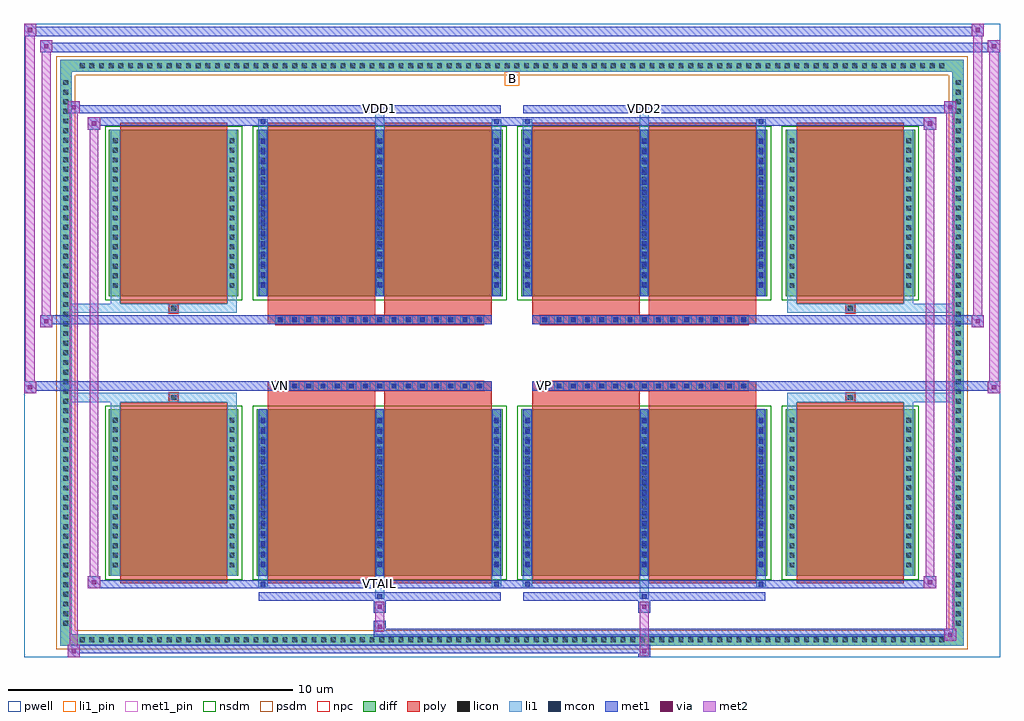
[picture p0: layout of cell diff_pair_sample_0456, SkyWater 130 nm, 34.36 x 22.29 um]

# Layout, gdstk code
import gdstk
lib = gdstk.Library(unit=1e-6, precision=5e-09)
def R(c, l, rs):  # rectangles x0, y0, x1, y1
    for r in rs: c.add(gdstk.rectangle(r[:2], r[2:], *l))
def A(c, l, x, y, w, h, nx, ny, dx, dy):  # array of equal rectangles
    R(c, l, [(x+i*dx, y+j*dy, x+i*dx+w, y+j*dy+h) for i in range(nx) for j in range(ny)])
def P(c, l, *ps):  # polygons
    for p in ps: c.add(gdstk.Polygon(p, *l))
pwell = (64, 44)
diff = (65, 20)
poly = (66, 20)
licon = (66, 44)
li1_pin = (67, 16)
li1 = (67, 20)
mcon = (67, 44)
met1_pin = (68, 16)
met1 = (68, 20)
via = (68, 44)
met2 = (69, 20)
nsdm = (93, 44)
psdm = (94, 20)
npc = (95, 20)

diff_pair_sample_0456 = lib.new_cell('diff_pair_sample_0456')
R(diff_pair_sample_0456, pwell, [(-17.18,-10.71,17.18,11.58), (-14.5,-8.9,-0.01,-0.8), (0.01,-8.9,14.5,-0.8), (-14.5,0.8,-0.01,8.9), (0.01,0.8,14.5,8.9)])
A(diff_pair_sample_0456, diff, -15.335, -10.31, 0.41, 0.41, 90, 2, 0.34, 20.21)
A(diff_pair_sample_0456, diff, -15.91, -9.725, 0.41, 0.41, 1, 57, 0, 0.34)
A(diff_pair_sample_0456, diff, 15.5, -9.725, 0.41, 0.41, 1, 57, 0, 0.34)
R(diff_pair_sample_0456, diff, [(-15.335,-10.31,15.335,-9.9), (-15.91,-9.725,-15.5,9.725), (15.5,-9.725,15.91,9.725), (-14.19,-7.855,-9.63,-1.985), (-8.99,-7.855,-0.32,-1.985), (0.32,-7.855,8.99,-1.985), (9.63,-7.855,14.19,-1.985), (-14.19,1.985,-9.63,7.855), (-8.99,1.985,-0.32,7.855), (0.32,1.985,8.99,7.855), (9.63,1.985,14.19,7.855), (-15.335,9.9,15.335,10.31)])
P(diff_pair_sample_0456, diff, [(15.91,10.31),(-15.91,10.31),(-15.91,-9.9),(-15.5,-9.9),(-15.5,9.9),(15.5,9.9),(15.5,-9.9),(-15.5,-9.9),(-15.91,-9.9),(-15.91,-10.31),(15.91,-10.31)])
A(diff_pair_sample_0456, poly, -8.32, -1.33, 0.33, 0.33, 15, 2, 0.5, 2.33)
A(diff_pair_sample_0456, poly, 0.99, -1.33, 0.33, 0.33, 15, 2, 0.5, 2.33)
R(diff_pair_sample_0456, poly, [(-13.8,-8.105,-10.02,-1.735), (-8.6,-8.105,-4.82,-1.735), (-4.49,-8.105,-0.71,-1.735), (0.71,-8.105,4.49,-1.735), (4.82,-8.105,8.6,-1.735), (10.02,-8.105,13.8,-1.735), (-12.075,-1.735,-11.745,-1.405), (-12.075,-1.735,-11.745,-1.405), (-8.6,-1.735,-4.82,-1.33), (-4.49,-1.735,-0.71,-1.33), (0.71,-1.735,4.49,-1.33), (4.82,-1.735,8.6,-1.33), (11.745,-1.735,12.075,-1.405), (11.745,-1.735,12.075,-1.405), (-8.6,-1.33,-0.71,-1), (0.71,-1.33,8.6,-1), (-8.6,1,-0.71,1.33), (0.71,1,8.6,1.33), (-8.6,1.33,-4.82,1.735), (-4.49,1.33,-0.71,1.735), (0.71,1.33,4.49,1.735), (4.82,1.33,8.6,1.735), (-12.075,1.405,-11.745,1.735), (-12.075,1.405,-11.745,1.735), (11.745,1.405,12.075,1.735), (11.745,1.405,12.075,1.735), (-13.8,1.735,-10.02,8.105), (-8.6,1.735,-4.82,8.105), (-4.49,1.735,-0.71,8.105), (0.71,1.735,4.49,8.105), (4.82,1.735,8.6,8.105), (10.02,1.735,13.8,8.105)])
A(diff_pair_sample_0456, licon, -15.215, -10.19, 0.17, 0.17, 90, 2, 0.34, 20.21)
A(diff_pair_sample_0456, licon, -15.79, -9.605, 0.17, 0.17, 1, 57, 0, 0.34)
A(diff_pair_sample_0456, licon, 15.62, -9.605, 0.17, 0.17, 1, 57, 0, 0.34)
A(diff_pair_sample_0456, licon, -14.05, -7.555, 0.17, 0.17, 1, 16, 0, 0.34)
A(diff_pair_sample_0456, licon, -9.94, -7.555, 0.17, 0.17, 1, 16, 0, 0.34)
A(diff_pair_sample_0456, licon, -8.85, -7.555, 0.17, 0.17, 3, 16, 4.11, 0.34)
A(diff_pair_sample_0456, licon, 0.46, -7.555, 0.17, 0.17, 3, 16, 4.11, 0.34)
A(diff_pair_sample_0456, licon, 9.77, -7.555, 0.17, 0.17, 1, 16, 0, 0.34)
A(diff_pair_sample_0456, licon, 13.88, -7.555, 0.17, 0.17, 1, 16, 0, 0.34)
A(diff_pair_sample_0456, licon, -8.24, -1.25, 0.17, 0.17, 15, 2, 0.5, 2.33)
A(diff_pair_sample_0456, licon, 1.07, -1.25, 0.17, 0.17, 15, 2, 0.5, 2.33)
A(diff_pair_sample_0456, licon, -14.05, 2.285, 0.17, 0.17, 1, 16, 0, 0.34)
A(diff_pair_sample_0456, licon, -9.94, 2.285, 0.17, 0.17, 1, 16, 0, 0.34)
A(diff_pair_sample_0456, licon, -8.85, 2.285, 0.17, 0.17, 3, 16, 4.11, 0.34)
A(diff_pair_sample_0456, licon, 0.46, 2.285, 0.17, 0.17, 3, 16, 4.11, 0.34)
A(diff_pair_sample_0456, licon, 9.77, 2.285, 0.17, 0.17, 1, 16, 0, 0.34)
A(diff_pair_sample_0456, licon, 13.88, 2.285, 0.17, 0.17, 1, 16, 0, 0.34)
R(diff_pair_sample_0456, licon, [(-11.995,-1.655,-11.825,-1.485), (11.825,-1.655,11.995,-1.485), (-11.995,1.485,-11.825,1.655), (11.825,1.485,11.995,1.655)])
R(diff_pair_sample_0456, li1_pin, [(-0.25,9.4,0.25,9.9)])
A(diff_pair_sample_0456, li1, -15.295, -10.27, 0.33, 0.33, 90, 2, 0.34, 20.21)
A(diff_pair_sample_0456, li1, -15.87, -9.685, 0.33, 0.33, 1, 57, 0, 0.34)
A(diff_pair_sample_0456, li1, 15.54, -9.685, 0.33, 0.33, 1, 57, 0, 0.34)
A(diff_pair_sample_0456, li1, -8.93, -7.855, 0.33, 5.87, 3, 2, 4.11, 9.84)
A(diff_pair_sample_0456, li1, 0.38, -7.855, 0.33, 5.87, 3, 2, 4.11, 9.84)
A(diff_pair_sample_0456, li1, -14.13, -7.635, 0.33, 0.33, 1, 16, 0, 0.34)
A(diff_pair_sample_0456, li1, -10.02, -7.635, 0.33, 0.33, 1, 16, 0, 0.34)
A(diff_pair_sample_0456, li1, -8.93, -7.635, 0.33, 0.33, 3, 16, 4.11, 0.34)
A(diff_pair_sample_0456, li1, 0.38, -7.635, 0.33, 0.33, 3, 16, 4.11, 0.34)
A(diff_pair_sample_0456, li1, 9.69, -7.635, 0.33, 0.33, 1, 16, 0, 0.34)
A(diff_pair_sample_0456, li1, 13.8, -7.635, 0.33, 0.33, 1, 16, 0, 0.34)
A(diff_pair_sample_0456, li1, -8.85, -7.525, 0.17, 0.17, 3, 15, 4.11, 0.36)
A(diff_pair_sample_0456, li1, -8.85, -7.525, 0.17, 5.21, 3, 2, 4.11, 9.84)
A(diff_pair_sample_0456, li1, 0.46, -7.525, 0.17, 0.17, 3, 15, 4.11, 0.36)
A(diff_pair_sample_0456, li1, 0.46, -7.525, 0.17, 5.21, 3, 2, 4.11, 9.84)
A(diff_pair_sample_0456, li1, -8.32, -1.33, 0.33, 0.33, 15, 2, 0.5, 2.33)
A(diff_pair_sample_0456, li1, 0.99, -1.33, 0.33, 0.33, 15, 2, 0.5, 2.33)
A(diff_pair_sample_0456, li1, -14.13, 2.205, 0.33, 0.33, 1, 16, 0, 0.34)
A(diff_pair_sample_0456, li1, -10.02, 2.205, 0.33, 0.33, 1, 16, 0, 0.34)
A(diff_pair_sample_0456, li1, -8.93, 2.205, 0.33, 0.33, 3, 16, 4.11, 0.34)
A(diff_pair_sample_0456, li1, 0.38, 2.205, 0.33, 0.33, 3, 16, 4.11, 0.34)
A(diff_pair_sample_0456, li1, 9.69, 2.205, 0.33, 0.33, 1, 16, 0, 0.34)
A(diff_pair_sample_0456, li1, 13.8, 2.205, 0.33, 0.33, 1, 16, 0, 0.34)
A(diff_pair_sample_0456, li1, -8.85, 2.315, 0.17, 0.17, 3, 15, 4.11, 0.36)
A(diff_pair_sample_0456, li1, 0.46, 2.315, 0.17, 0.17, 3, 15, 4.11, 0.36)
R(diff_pair_sample_0456, li1, [(-15.91,-10.31,-15.5,-9.9), (-15.91,-10.31,-15.5,-9.9), (-15.5,-10.31,15.5,-9.9), (15.5,-10.31,15.91,-9.9), (15.5,-10.31,15.91,-9.9), (-15.91,-9.9,-15.5,9.9), (15.5,-9.9,15.91,9.9), (-4.82,-8.66,-4.49,-7.855), (-4.74,-8.66,-4.57,-8.49), (4.49,-8.66,4.82,-7.855), (4.57,-8.66,4.74,-8.49), (-8.93,-8.23,-8.6,-7.855), (-8.85,-8.23,-8.68,-8.06), (-0.71,-8.23,-0.38,-7.855), (-0.63,-8.23,-0.46,-8.06), (0.38,-8.23,0.71,-7.855), (0.46,-8.23,0.63,-8.06), (8.6,-8.23,8.93,-7.855), (8.68,-8.23,8.85,-8.06), (-14.13,-7.855,-13.8,-1.985), (-10.02,-7.855,-9.69,-1.985), (9.69,-7.855,10.02,-1.985), (13.8,-7.855,14.13,-1.985), (-14.13,-1.985,-13.8,-1.405), (-10.02,-1.985,-9.69,-1.405), (9.69,-1.985,10.02,-1.405), (13.8,-1.985,14.13,-1.405), (-15.91,-1.735,-12.075,-1.405), (-14.13,-1.735,-12.075,-1.405), (-12.075,-1.735,-11.745,-1.405), (-11.745,-1.735,-9.69,-1.405), (9.69,-1.735,11.745,-1.405), (11.745,-1.735,12.075,-1.405), (11.745,-1.735,15.91,-1.405), (12.075,-1.735,14.13,-1.405), (-15.91,1.405,-12.075,1.735), (-14.13,1.405,-12.075,1.735), (-14.13,1.405,-13.8,1.985), (-12.075,1.405,-11.745,1.735), (-11.745,1.405,-9.69,1.735), (-10.02,1.405,-9.69,1.985), (9.69,1.405,11.745,1.735), (9.69,1.405,10.02,1.985), (11.745,1.405,12.075,1.735), (11.745,1.405,15.91,1.735), (12.075,1.405,14.13,1.735), (13.8,1.405,14.13,1.985), (-14.13,1.985,-13.8,7.855), (-10.02,1.985,-9.69,7.855), (9.69,1.985,10.02,7.855), (13.8,1.985,14.13,7.855), (-8.93,7.855,-8.6,8.23), (-4.82,7.855,-4.49,8.66), (-0.71,7.855,-0.38,8.23), (0.38,7.855,0.71,8.23), (4.49,7.855,4.82,8.66), (8.6,7.855,8.93,8.23), (-8.85,8.06,-8.68,8.23), (-0.63,8.06,-0.46,8.23), (0.46,8.06,0.63,8.23), (8.68,8.06,8.85,8.23), (-4.74,8.49,-4.57,8.66), (4.57,8.49,4.74,8.66), (-15.91,9.9,-15.5,10.31), (-15.91,9.9,-15.5,10.31), (-15.5,9.9,15.5,10.31), (15.5,9.9,15.91,10.31), (15.5,9.9,15.91,10.31)])
A(diff_pair_sample_0456, mcon, -8.85, -7.525, 0.17, 0.17, 3, 15, 4.11, 0.36)
A(diff_pair_sample_0456, mcon, 0.46, -7.525, 0.17, 0.17, 3, 15, 4.11, 0.36)
A(diff_pair_sample_0456, mcon, -8.24, -1.25, 0.17, 0.17, 15, 2, 0.5, 2.33)
A(diff_pair_sample_0456, mcon, 1.07, -1.25, 0.17, 0.17, 15, 2, 0.5, 2.33)
A(diff_pair_sample_0456, mcon, -8.85, 2.315, 0.17, 0.17, 3, 15, 4.11, 0.36)
A(diff_pair_sample_0456, mcon, 0.46, 2.315, 0.17, 0.17, 3, 15, 4.11, 0.36)
R(diff_pair_sample_0456, mcon, [(-4.74,-8.66,-4.57,-8.49), (4.57,-8.66,4.74,-8.49), (-8.85,-8.23,-8.68,-8.06), (-0.63,-8.23,-0.46,-8.06), (0.46,-8.23,0.63,-8.06), (8.68,-8.23,8.85,-8.06), (-8.85,8.06,-8.68,8.23), (-0.63,8.06,-0.46,8.23), (0.46,8.06,0.63,8.23), (8.68,8.06,8.85,8.23), (-4.74,8.49,-4.57,8.66), (4.57,8.49,4.74,8.66)])
R(diff_pair_sample_0456, met1_pin, [(-4.79,-8.27,-4.52,-8), (-8.29,-1.29,-8.02,-1.02), (1.02,-1.29,1.29,-1.02), (-4.79,8.45,-4.52,8.72), (4.52,8.45,4.79,8.72)])
A(diff_pair_sample_0456, met1, -8.91, -7.855, 0.29, 5.87, 3, 2, 4.11, 9.84)
A(diff_pair_sample_0456, met1, 0.4, -7.855, 0.29, 5.87, 3, 2, 4.11, 9.84)
A(diff_pair_sample_0456, met1, -8.91, -7.585, 0.29, 0.29, 3, 15, 4.11, 0.36)
A(diff_pair_sample_0456, met1, 0.4, -7.585, 0.29, 0.29, 3, 15, 4.11, 0.36)
A(diff_pair_sample_0456, met1, -8.3, -1.31, 0.29, 0.29, 15, 2, 0.5, 2.33)
A(diff_pair_sample_0456, met1, 1.01, -1.31, 0.29, 0.29, 15, 2, 0.5, 2.33)
A(diff_pair_sample_0456, met1, -8.91, 2.255, 0.29, 0.29, 3, 15, 4.11, 0.36)
A(diff_pair_sample_0456, met1, 0.4, 2.255, 0.29, 0.29, 3, 15, 4.11, 0.36)
R(diff_pair_sample_0456, met1, [(-15.64,-10.71,-15.21,-10.28), (4.44,-10.71,4.87,-10.28), (-15.64,-10.57,4.87,-10.28), (15.21,-10.14,15.64,-9.71), (-4.87,-10,15.64,-9.71), (-4.87,-9.86,-4.44,-9.43), (-4.87,-9.15,-4.44,-8.72), (4.44,-9.15,4.87,-8.72), (-8.91,-8.72,-0.4,-8.43), (-4.8,-8.72,-4.51,-8.43), (0.4,-8.72,8.91,-8.43), (4.51,-8.72,4.8,-8.43), (-14.93,-8.29,-14.5,-7.86), (-14.93,-8.29,-8.91,-8), (-8.91,-8.29,-8.62,-8), (-8.91,-8.29,-0.4,-8), (-0.69,-8.29,-0.4,-8), (-0.4,-8.29,0.4,-8), (0.4,-8.29,0.69,-8), (0.4,-8.29,8.91,-8), (8.62,-8.29,8.91,-8), (8.91,-8.29,14.93,-8), (14.5,-8.29,14.93,-7.86), (-17.18,-1.43,-16.75,-1), (16.75,-1.43,17.18,-1), (-17.18,-1.33,-0.71,-1), (-8.6,-1.33,-0.71,-1), (0.71,-1.33,8.6,-1), (0.71,-1.33,17.18,-1), (-16.61,0.9,-16.18,1.33), (16.18,0.9,16.61,1.33), (-16.61,1,-8.6,1.33), (-8.6,1,-0.71,1.33), (0.71,1,8.6,1.33), (8.6,1,16.61,1.33), (-14.93,7.86,-14.5,8.29), (14.5,7.86,14.93,8.29), (-14.93,8,-8.91,8.29), (-8.91,8,-8.62,8.29), (-8.91,8,-0.4,8.29), (-0.69,8,-0.4,8.29), (-0.4,8,0.4,8.29), (0.4,8,0.69,8.29), (0.4,8,8.91,8.29), (8.62,8,8.91,8.29), (8.91,8,14.93,8.29), (-15.64,8.43,-15.21,8.86), (-15.64,8.43,-8.91,8.72), (-8.91,8.43,-0.4,8.72), (-4.8,8.43,-4.51,8.72), (0.4,8.43,8.91,8.72), (4.51,8.43,4.8,8.72), (8.91,8.43,15.64,8.72), (15.21,8.43,15.64,8.86), (-16.61,10.58,-16.18,11.01), (-16.61,10.58,-14.5,10.91), (-14.5,10.58,14.5,10.91), (14.5,10.58,17.18,10.91), (16.75,10.58,17.18,11.01), (-17.18,11.15,-16.75,11.58), (-17.18,11.15,-14.5,11.48), (-14.5,11.15,14.5,11.48), (14.5,11.15,16.61,11.48), (16.18,11.15,16.61,11.58)])
R(diff_pair_sample_0456, via, [(-15.5,-10.57,-15.35,-10.42), (4.58,-10.57,4.73,-10.42), (15.35,-10,15.5,-9.85), (-4.73,-9.72,-4.58,-9.57), (-4.73,-9.01,-4.58,-8.86), (4.58,-9.01,4.73,-8.86), (-14.79,-8.15,-14.64,-8), (14.64,-8.15,14.79,-8), (-17.04,-1.29,-16.89,-1.14), (16.89,-1.29,17.04,-1.14), (-16.47,1.04,-16.32,1.19), (16.32,1.04,16.47,1.19), (-14.79,8,-14.64,8.15), (14.64,8,14.79,8.15), (-15.5,8.57,-15.35,8.72), (15.35,8.57,15.5,8.72), (-16.47,10.72,-16.32,10.87), (16.89,10.72,17.04,10.87), (-17.04,11.29,-16.89,11.44), (16.32,11.29,16.47,11.44)])
R(diff_pair_sample_0456, met2, [(-15.64,-10.71,-15.21,-10.28), (-15.57,-10.71,-15.28,8.86), (-15.28,-10.71,-15.21,-10.28), (-15.59,-10.66,-15.26,-10.33), (4.49,-10.66,4.82,-10.33), (4.49,-10.33,4.82,-9.1), (15.21,-10.14,15.64,-9.71), (15.28,-10.14,15.57,8.86), (15.57,-10.14,15.64,-9.71), (15.26,-10.09,15.59,-9.76), (-4.82,-9.81,-4.49,-9.48), (-4.82,-9.48,-4.49,-9.1), (-4.82,-9.1,-4.49,-8.77), (4.49,-9.1,4.82,-8.77), (-14.93,-8.29,-14.5,-7.86), (-14.86,-8.29,-14.57,8.29), (-14.57,-8.29,-14.5,-7.86), (14.5,-8.29,14.93,-7.86), (14.57,-8.29,14.86,8.29), (14.86,-8.29,14.93,-7.86), (-14.88,-8.24,-14.55,-7.91), (14.55,-8.24,14.88,-7.91), (-17.18,-1.43,-16.75,-1), (-17.13,-1.43,-16.8,11.58), (-16.8,-1.43,-16.75,-1), (16.75,-1.43,17.18,-1), (16.8,-1.43,17.13,11.01), (17.13,-1.43,17.18,-1), (-17.13,-1.38,-16.8,-1.05), (16.8,-1.38,17.13,-1.05), (-16.61,0.9,-16.18,1.33), (-16.56,0.9,-16.23,11.01), (-16.23,0.9,-16.18,1.33), (16.18,0.9,16.61,1.33), (16.23,0.9,16.56,11.58), (16.56,0.9,16.61,1.33), (-16.56,0.95,-16.23,1.28), (16.23,0.95,16.56,1.28), (-14.93,7.86,-14.5,8.29), (-14.57,7.86,-14.5,8.29), (14.5,7.86,14.93,8.29), (14.86,7.86,14.93,8.29), (-14.88,7.91,-14.55,8.24), (14.55,7.91,14.88,8.24), (-15.64,8.43,-15.21,8.86), (-15.28,8.43,-15.21,8.86), (15.21,8.43,15.64,8.86), (15.57,8.43,15.64,8.86), (-15.59,8.48,-15.26,8.81), (15.26,8.48,15.59,8.81), (-16.61,10.58,-16.18,11.01), (-16.23,10.58,-16.18,11.01), (16.75,10.58,17.18,11.01), (17.13,10.58,17.18,11.01), (-16.56,10.63,-16.23,10.96), (16.8,10.63,17.13,10.96), (-17.18,11.15,-16.75,11.58), (-16.8,11.15,-16.75,11.58), (16.18,11.15,16.61,11.58), (16.56,11.15,16.61,11.58), (-17.13,11.2,-16.8,11.53), (16.23,11.2,16.56,11.53)])
R(diff_pair_sample_0456, nsdm, [(-14.32,-7.985,-9.5,-1.855), (-9.12,-7.985,-0.19,-1.855), (0.19,-7.985,9.12,-1.855), (9.5,-7.985,14.32,-1.855), (-14.32,1.855,-9.5,7.985), (-9.12,1.855,-0.19,7.985), (0.19,1.855,9.12,7.985), (9.5,1.855,14.32,7.985)])
P(diff_pair_sample_0456, psdm, [(16.04,10.44),(-16.04,10.44),(-16.04,-9.77),(-15.37,-9.77),(-15.37,9.77),(15.37,9.77),(15.37,-9.77),(-15.37,-9.77),(-16.04,-9.77),(-16.04,-10.44),(16.04,-10.44)])
A(diff_pair_sample_0456, npc, -8.34, -1.35, 0.37, 0.37, 15, 2, 0.5, 2.33)
A(diff_pair_sample_0456, npc, 0.97, -1.35, 0.37, 0.37, 15, 2, 0.5, 2.33)
R(diff_pair_sample_0456, npc, [(-12.095,-1.755,-11.725,-1.385), (11.725,-1.755,12.095,-1.385), (-8.34,-1.35,-7.47,-0.98), (-8.34,-1.35,-7.47,-0.98), (-7.84,-1.35,-6.97,-0.98), (-7.84,-1.35,-6.97,-0.98), (-7.34,-1.35,-6.47,-0.98), (-7.34,-1.35,-6.47,-0.98), (-6.84,-1.35,-5.97,-0.98), (-6.84,-1.35,-5.97,-0.98), (-6.34,-1.35,-5.47,-0.98), (-6.34,-1.35,-5.47,-0.98), (-5.84,-1.35,-4.97,-0.98), (-5.84,-1.35,-4.97,-0.98), (-5.34,-1.35,-4.47,-0.98), (-5.34,-1.35,-4.47,-0.98), (-4.84,-1.35,-3.97,-0.98), (-4.84,-1.35,-3.97,-0.98), (-4.34,-1.35,-3.47,-0.98), (-4.34,-1.35,-3.47,-0.98), (-3.84,-1.35,-2.97,-0.98), (-3.84,-1.35,-2.97,-0.98), (-3.34,-1.35,-2.47,-0.98), (-3.34,-1.35,-2.47,-0.98), (-2.84,-1.35,-1.97,-0.98), (-2.84,-1.35,-1.97,-0.98), (-2.34,-1.35,-1.47,-0.98), (-2.34,-1.35,-1.47,-0.98), (-1.84,-1.35,-0.97,-0.98), (-1.84,-1.35,-0.97,-0.98), (0.97,-1.35,1.84,-0.98), (0.97,-1.35,1.84,-0.98), (1.47,-1.35,2.34,-0.98), (1.47,-1.35,2.34,-0.98), (1.97,-1.35,2.84,-0.98), (1.97,-1.35,2.84,-0.98), (2.47,-1.35,3.34,-0.98), (2.47,-1.35,3.34,-0.98), (2.97,-1.35,3.84,-0.98), (2.97,-1.35,3.84,-0.98), (3.47,-1.35,4.34,-0.98), (3.47,-1.35,4.34,-0.98), (3.97,-1.35,4.84,-0.98), (3.97,-1.35,4.84,-0.98), (4.47,-1.35,5.34,-0.98), (4.47,-1.35,5.34,-0.98), (4.97,-1.35,5.84,-0.98), (4.97,-1.35,5.84,-0.98), (5.47,-1.35,6.34,-0.98), (5.47,-1.35,6.34,-0.98), (5.97,-1.35,6.84,-0.98), (5.97,-1.35,6.84,-0.98), (6.47,-1.35,7.34,-0.98), (6.47,-1.35,7.34,-0.98), (6.97,-1.35,7.84,-0.98), (6.97,-1.35,7.84,-0.98), (7.47,-1.35,8.34,-0.98), (7.47,-1.35,8.34,-0.98), (-8.34,0.98,-7.47,1.35), (-8.34,0.98,-7.47,1.35), (-7.84,0.98,-6.97,1.35), (-7.84,0.98,-6.97,1.35), (-7.34,0.98,-6.47,1.35), (-7.34,0.98,-6.47,1.35), (-6.84,0.98,-5.97,1.35), (-6.84,0.98,-5.97,1.35), (-6.34,0.98,-5.47,1.35), (-6.34,0.98,-5.47,1.35), (-5.84,0.98,-4.97,1.35), (-5.84,0.98,-4.97,1.35), (-5.34,0.98,-4.47,1.35), (-5.34,0.98,-4.47,1.35), (-4.84,0.98,-3.97,1.35), (-4.84,0.98,-3.97,1.35), (-4.34,0.98,-3.47,1.35), (-4.34,0.98,-3.47,1.35), (-3.84,0.98,-2.97,1.35), (-3.84,0.98,-2.97,1.35), (-3.34,0.98,-2.47,1.35), (-3.34,0.98,-2.47,1.35), (-2.84,0.98,-1.97,1.35), (-2.84,0.98,-1.97,1.35), (-2.34,0.98,-1.47,1.35), (-2.34,0.98,-1.47,1.35), (-1.84,0.98,-0.97,1.35), (-1.84,0.98,-0.97,1.35), (0.97,0.98,1.84,1.35), (0.97,0.98,1.84,1.35), (1.47,0.98,2.34,1.35), (1.47,0.98,2.34,1.35), (1.97,0.98,2.84,1.35), (1.97,0.98,2.84,1.35), (2.47,0.98,3.34,1.35), (2.47,0.98,3.34,1.35), (2.97,0.98,3.84,1.35), (2.97,0.98,3.84,1.35), (3.47,0.98,4.34,1.35), (3.47,0.98,4.34,1.35), (3.97,0.98,4.84,1.35), (3.97,0.98,4.84,1.35), (4.47,0.98,5.34,1.35), (4.47,0.98,5.34,1.35), (4.97,0.98,5.84,1.35), (4.97,0.98,5.84,1.35), (5.47,0.98,6.34,1.35), (5.47,0.98,6.34,1.35), (5.97,0.98,6.84,1.35), (5.97,0.98,6.84,1.35), (6.47,0.98,7.34,1.35), (6.47,0.98,7.34,1.35), (6.97,0.98,7.84,1.35), (6.97,0.98,7.84,1.35), (7.47,0.98,8.34,1.35), (7.47,0.98,8.34,1.35), (-12.095,1.385,-11.725,1.755), (11.725,1.385,12.095,1.755)])
diff_pair_sample_0456.add(gdstk.Label('VTAIL', (-4.655,-8.135), layer=68, texttype=5))
diff_pair_sample_0456.add(gdstk.Label('VN', (-8.155,-1.155), layer=68, texttype=5))
diff_pair_sample_0456.add(gdstk.Label('VP', (1.155,-1.155), layer=68, texttype=5))
diff_pair_sample_0456.add(gdstk.Label('B', (0,9.65), layer=67, texttype=5))
diff_pair_sample_0456.add(gdstk.Label('VDD2', (4.655,8.585), layer=68, texttype=5))
diff_pair_sample_0456.add(gdstk.Label('VDD1', (-4.655,8.585), layer=68, texttype=5))

lib.write_gds('diff_pair_sample_0456.gds')
